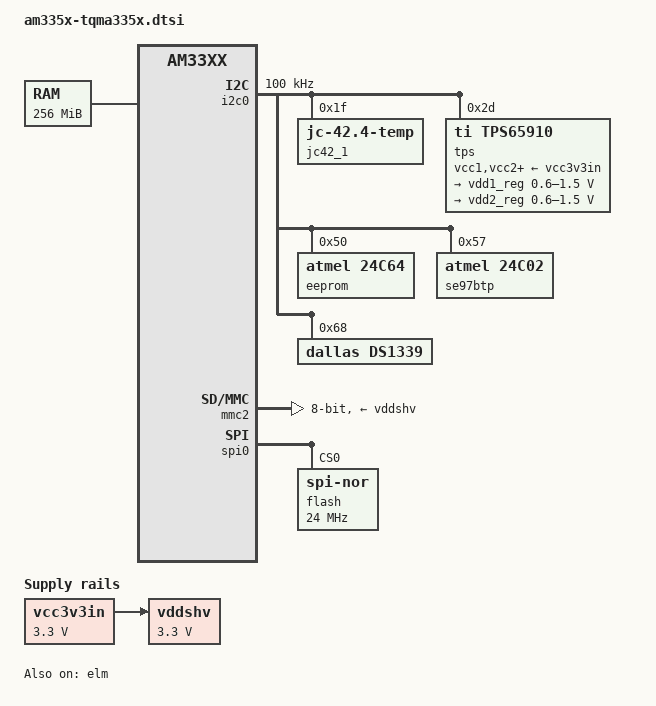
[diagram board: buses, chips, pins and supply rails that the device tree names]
// SPDX-License-Identifier: GPL-2.0-or-later OR MIT
/*
 * Copyright (c) 2014, 2021-2023 TQ-Systems GmbH <linux@ew.tq-group.com>,
 * D-82229 Seefeld, Germany.
 * Author: Gregor Herburger
 *
 * Based on:
 * Copyright (C) 2012 Texas Instruments Incorporated - http://www.ti.com/
 *
 */

#include <dt-bindings/interrupt-controller/irq.h>
#include "am33xx.dtsi"

/ {
	compatible = "tq,tqma335x", "ti,am33xx";

	aliases {
		rtc0 = &tps;
		rtc1 = &ds1339;
		rtc2 = &rtc;
	};

	cpus {
		cpu@0 {
			cpu0-supply = <&vdd1_reg>;
		};
	};

	memory {
		device_type = "memory";
		reg = <0x80000000 0x10000000>; /* 256 MB */
	};

	/* SOM input voltage */
	vcc3v3in: regulator-vcc3v3in {
		compatible = "regulator-fixed";
		regulator-name = "VCC3V3IN";
		regulator-min-microvolt = <3300000>;
		regulator-max-microvolt = <3300000>;
		regulator-boot-on;
	};

	/*
	 * Regulator is enabled by PMIC power sequence. The supplied voltage
	 * rail is also usable on baseboard.
	 */
	vddshv: regulator-vddshv {
		compatible = "regulator-fixed";
		regulator-name = "VDDSHV";
		regulator-min-microvolt = <3300000>;
		regulator-max-microvolt = <3300000>;
		regulator-boot-on;
		vin-supply = <&vcc3v3in>;
	};
};

&elm {
	status = "okay";
};

&am33xx_pinmux {
	i2c0_pins: i2c0_pins {
		pinctrl-single,pins = <
			0x188 (PIN_INPUT_PULLUP | MUX_MODE0)		/* i2c0_sda.i2c0_sda */
			0x18c (PIN_INPUT_PULLUP | MUX_MODE0)		/* i2c0_scl.i2c0_scl */
		>;
	};

	mmc2_pins: mmc2_pins {
		pinctrl-single,pins = <
			0x00 (SLEWCTRL_SLOW | PIN_INPUT_PULLUP | MUX_MODE1)		/* gpmc_ad0.mmc1_dat0 */
			0x04 (SLEWCTRL_SLOW | PIN_INPUT_PULLUP | MUX_MODE1)		/* gpmc_ad1.mmc1_dat1 */
			0x08 (SLEWCTRL_SLOW | PIN_INPUT_PULLUP | MUX_MODE1)		/* gpmc_ad2.mmc1_dat2 */
			0x0c (SLEWCTRL_SLOW | PIN_INPUT_PULLUP | MUX_MODE1)		/* gpmc_ad3.mmc1_dat3 */
			0x10 (SLEWCTRL_SLOW | PIN_INPUT_PULLUP | MUX_MODE1)		/* gpmc_ad4.mmc1_dat4 */
			0x14 (SLEWCTRL_SLOW | PIN_INPUT_PULLUP | MUX_MODE1)		/* gpmc_ad5.mmc1_dat5 */
			0x18 (SLEWCTRL_SLOW | PIN_INPUT_PULLUP | MUX_MODE1)		/* gpmc_ad6.mmc1_dat6 */
			0x1c (SLEWCTRL_SLOW | PIN_INPUT_PULLUP | MUX_MODE1)		/* gpmc_ad7.mmc1_dat7 */
			0x80 (PIN_INPUT_PULLUP | MUX_MODE2)				/* gpmc_csn1.mmc1_clk */
			0x84 (SLEWCTRL_SLOW | PIN_INPUT_PULLUP | MUX_MODE2)		/* gpmc_csn2.mmc1_cmd */
		>;
	};

	spi0_pins: pinmux_spi0_pins {
		pinctrl-single,pins = <
			0x150 (PIN_INPUT_PULLUP | MUX_MODE0)		/* spi0_clk.spi0_clk */
			0x154 (PIN_INPUT_PULLUP | MUX_MODE0)		/* spi0_d0.spi0_d0 */
			0x158 (PIN_INPUT_PULLUP | MUX_MODE0)		/* spi0_d1.spi0_d1 */
			0x15c (PIN_INPUT_PULLUP | MUX_MODE0)		/* spi0_cs0.spi0_cs0 */
		>;
	};
};

&i2c0 {
	pinctrl-names = "default";
	pinctrl-0 = <&i2c0_pins>;
	clock-frequency = <100000>;
	status = "okay";

	/* optional, not on TQMa335xL */
	jc42_1: temperature-sensor@1f {
		compatible = "jedec,jc-42.4-temp";
		reg = <0x1f>;
	};

	tps: pmic@2d {
		compatible = "ti,tps65910";
		reg = <0x2d>;
		ti,en-ck32k-xtal;
	};

	/* optional, not on TQMa335xL */
	eeprom: eeprom@50 {
		compatible = "atmel,24c64";
		pagesize = <32>;
		reg = <0x50>;
	};

	/* optional, not on TQMa335xL */
	se97btp: eeprom@57 {
		compatible = "atmel,24c02";
		pagesize = <16>;
		reg = <0x57>;
	};

	/* optional, not on TQMa335xL */
	ds1339: rtc@68 {
		compatible = "dallas,ds1339";
		reg = <0x68>;
	};
};

&mmc2 {
	pinctrl-names = "default";
	pinctrl-0 = <&mmc2_pins>;
	vmmc-supply = <&vddshv>;
	bus-width = <8>;
	ti,non-removable;
	no-1-8-v;
	no-sd;
	no-sdio;
	status = "okay";
};

&rtc {
	status = "disabled";
};

/* include after i2c-device described */
#include "tps65910.dtsi"
&tps {
	vcc1-supply = <&vcc3v3in>;
	vcc2-supply = <&vcc3v3in>;
	vcc3-supply = <&vcc3v3in>;
	vcc4-supply = <&vcc3v3in>;
	vcc5-supply = <&vcc3v3in>;
	vcc6-supply = <&vcc3v3in>;
	vcc7-supply = <&vcc3v3in>;
	vccio-supply = <&vcc3v3in>;

	regulators {
		vrtc_reg: regulator@0 {
			regulator-always-on;
		};

		vio_reg: regulator@1 {
			regulator-always-on;
		};

		vdd1_reg: regulator@2 {
			regulator-name = "vdd_mpu";
			regulator-min-microvolt = <600000>;
			regulator-max-microvolt = <1500000>;
			regulator-boot-on;
			regulator-always-on;
		};

		vdd2_reg: regulator@3 {
			regulator-name = "vdd_core";
			regulator-min-microvolt = <600000>;
			regulator-max-microvolt = <1500000>;
			regulator-boot-on;
			regulator-always-on;
		};

		vdd3_reg: regulator@4 {
			regulator-always-on;
		};

		vdig1_reg: regulator@5 {
			regulator-always-on;
		};

		vdig2_reg: regulator@6 {
			regulator-always-on;
		};

		vpll_reg: regulator@7 {
			regulator-always-on;
		};

		vdac_reg: regulator@8 {
			regulator-always-on;
		};

		vaux1_reg: regulator@9 {
			regulator-always-on;
		};

		vaux2_reg: regulator@10 {
			regulator-always-on;
		};

		vaux33_reg: regulator@11 {
			regulator-always-on;
		};

		vmmc_reg: regulator@12 {
			regulator-always-on;
		};
	};
};

&spi0 {
	pinctrl-names = "default";
	pinctrl-0 = <&spi0_pins>;
	status = "okay";

	flash@0 {
		compatible = "jedec,spi-nor";
		spi-max-frequency = <24000000>;
		reg = <0x0>;
	};
};

&usb0_phy {
	vcc-supply = <&vaux1_reg>;
};

&usb1_phy {
	vcc-supply = <&vaux1_reg>;
};

&wkup_m3 {
	ti,scale-data-fw = "am335x-evm-scale-data.bin";
};
